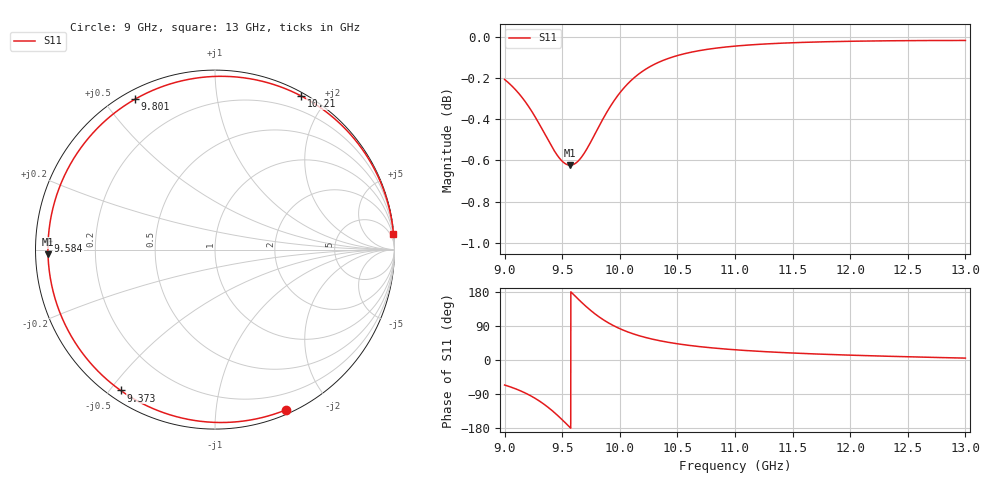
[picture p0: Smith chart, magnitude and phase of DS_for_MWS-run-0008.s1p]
! TOUCHSTONE file generated by CST DESIGN STUDIO
! Date and time: Tue Feb  4 18:07:19 2025
! Project name: C:\Work\MatlabApps\UnitCellOptimizationMatlab\CST\unitcell.cst
! Tree item: Tasks\Sweep1\SPara1\S-Parameters
! Header version: 2024
! Port assignment regex: !\s*Touchstone port\s*([0-9]+)\s*=\s*(CST MWS port|CST DES external port|CST DES block port)\s*(.+)\s* \(\"(.*)\"\)(\s*mode\s*([0-9]+))?.*
! Touchstone port assignment:
! Touchstone port 1 = CST DES external port 1 ("")
# GHz S MA R 50
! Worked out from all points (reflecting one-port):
!   4001 points, 9 GHz to 13 GHz, reference 50 ohm
!   lowest |S11| = -0.6 dB at 9.569 GHz (marker M1), VSWR 27.89, Z = 1.79 - j0.728 ohm
!   phase of S11 starts at -66 deg and turns -289 deg over the sweep
!   S11 on the Smith chart (normalised r, x): 9 GHz: 0.04, -1.54; 9.373 GHz: 0.04, -0.53; 9.584 GHz: 0.04, +0.03; 9.801 GHz: 0.04, +0.60; 10.21 GHz: 0.04, +1.71; 13 GHz: 1, +23
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9  0.9765 -66.0
9.043  0.9742 -70.3
9.11  0.9699 -77.8
9.225  0.9603 -94.2
9.303  0.9523 -108.5
9.373  0.9445 -123.8
9.435  0.938 -139.4
9.5  0.9328 -157.7
9.535  0.9313 -168.1
9.569  0.9308 -178.3
9.584  0.9309 177.1
9.639  0.933 160.6
9.7  0.9379 143.2
9.75  0.9432 130.1
9.801  0.9491 118.0
9.844  0.9541 108.8
9.891  0.9592 99.8
10  0.9692 82.7
10.099  0.976 70.8
10.207  0.9814 60.7
10.342  0.9861 51.2
10.5  0.9897 42.8
10.721  0.9928 34.4
11  0.9949 27.0
11.5  0.9968 18.4
12  0.9976 12.8
12.5  0.998 8.5
13  0.9981 5.0
